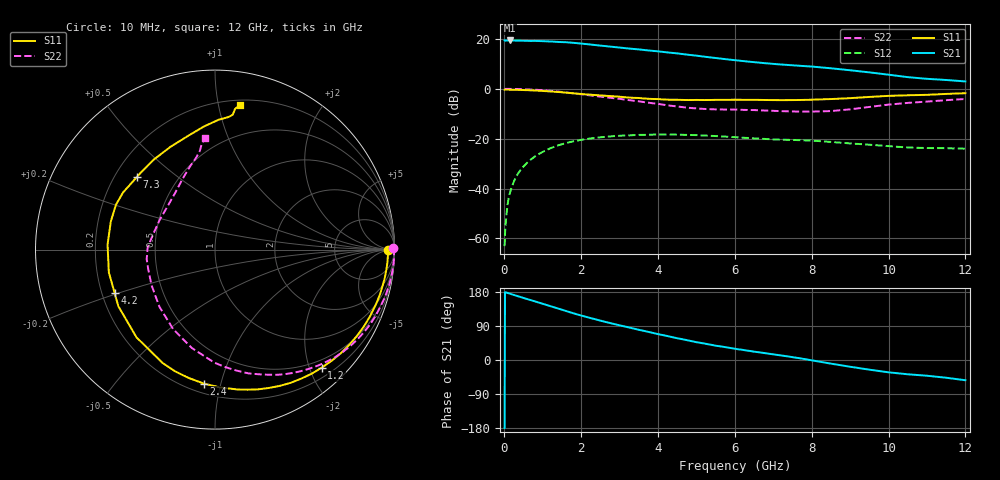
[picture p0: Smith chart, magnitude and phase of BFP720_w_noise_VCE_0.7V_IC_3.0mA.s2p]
! Infineon Technologies  Discrete & RF Semiconductors
! BFP720
! VCE =  0.7 V,  IC =  3.0 mA
! Common Emitter S-Parameters:  Aug 2012
# GHz  S  MA  R  50
!  f  S11  S21  S12  S22
! GHz  MAG  ANG  MAG  ANG  MAG  ANG  MAG  ANG
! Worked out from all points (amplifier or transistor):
!   105 points, 10 MHz to 12 GHz, reference 50 ohm
!   highest |S21| = 19.4 dB at 150 MHz (marker M1)
!   |S21| within 3 dB of that: start of sweep to 3.095 GHz
!   unconditionally stable (mu >= 1): 7.673 GHz to end of sweep
!   at 300 MHz: K = 0.02, MSG = 27.4 dB, |S12| = -35.5 dB
!   at 3.6 GHz: K = 0.36, MSG = 17.1 dB, |S12| = -18.5 dB
!   at 12 GHz: K = 1.08, MAG = 11.8 dB, |S12| = -24.0 dB
!   lowest NFmin = 0.36 dB at 450 MHz
!   S11 on the Smith chart (normalised r, x): 10 MHz: 51, -2; 1.2 GHz: 0.36, -2.20; 2.4 GHz: 0.26, -0.89; 4.2 GHz: 0.25, -0.19; 7.3 GHz: 0.29, +0.36; 12 GHz: 0.24, +1.16
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0.01  0.9615 -0.1  9.31 -179.6  0.0007 -24.9  0.9909 0.4
0.02  0.9639 -0.7  9.192 179.1  0.0012 92.9  0.9986 -0.6
0.07  0.9635 -2.7  9.326 177.5  0.0037 90.5  0.9977 -2.2
0.15  0.962 -5.8  9.341 175.0  0.0083 85.9  0.9975 -4.7
0.4  0.9522 -15.4  9.269 167.0  0.0222 79.8  0.9878 -12.7
0.8  0.9255 -31.4  9.162 154.7  0.044 69.1  0.9602 -25.5
1.2  0.8869 -47.9  8.909 142.1  0.0642 58.1  0.9125 -38.7
1.6  0.84 -64.8  8.626 129.5  0.0814 47.1  0.8476 -51.4
1.9  0.8017 -76.8  8.235 120.3  0.0918 39.3  0.7956 -60.7
2.1  0.7779 -84.2  7.94 114.7  0.0974 34.4  0.7608 -66.4
2.4  0.7488 -94.8  7.508 106.6  0.1046 27.5  0.7148 -74.8
2.8  0.7136 -108.2  6.982 96.4  0.1118 19.3  0.6564 -85.1
3.3  0.6648 -124.8  6.373 84.6  0.1171 9.9  0.5863 -97.7
4.1  0.6154 -153.2  5.54 66.3  0.1212 -3.9  0.4864 -120.7
4.2  0.609 -156.8  5.429 64.2  0.1211 -5.5  0.4736 -123.8
5  0.5992 177.3  4.631 47.0  0.1181 -17.8  0.4054 -150.7
6.1  0.6044 154.2  3.686 28.2  0.1062 -30.1  0.3815 -174.0
7.3  0.5942 137.1  3.042 10.6  0.0955 -38.1  0.3557 167.0
8.5  0.6241 113.4  2.585 -9.6  0.0862 -47.5  0.3583 137.2
9.5  0.688 95.3  2.14 -25.5  0.0758 -51.4  0.4336 114.6
10.5  0.7428 84.1  1.717 -37.7  0.0667 -52.4  0.5227 101.6
12  0.8182 80.2  1.408 -53.4  0.063 -52.5  0.6265 95.0
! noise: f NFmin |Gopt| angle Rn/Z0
0.45  0.36  0.64  5  0.2
1.8  0.5  0.57  28  0.16
2.4  0.56  0.45  71  0.19
5.5  0.77  0.32  80  0.12
10  1.12  0.43  -102  0.21
